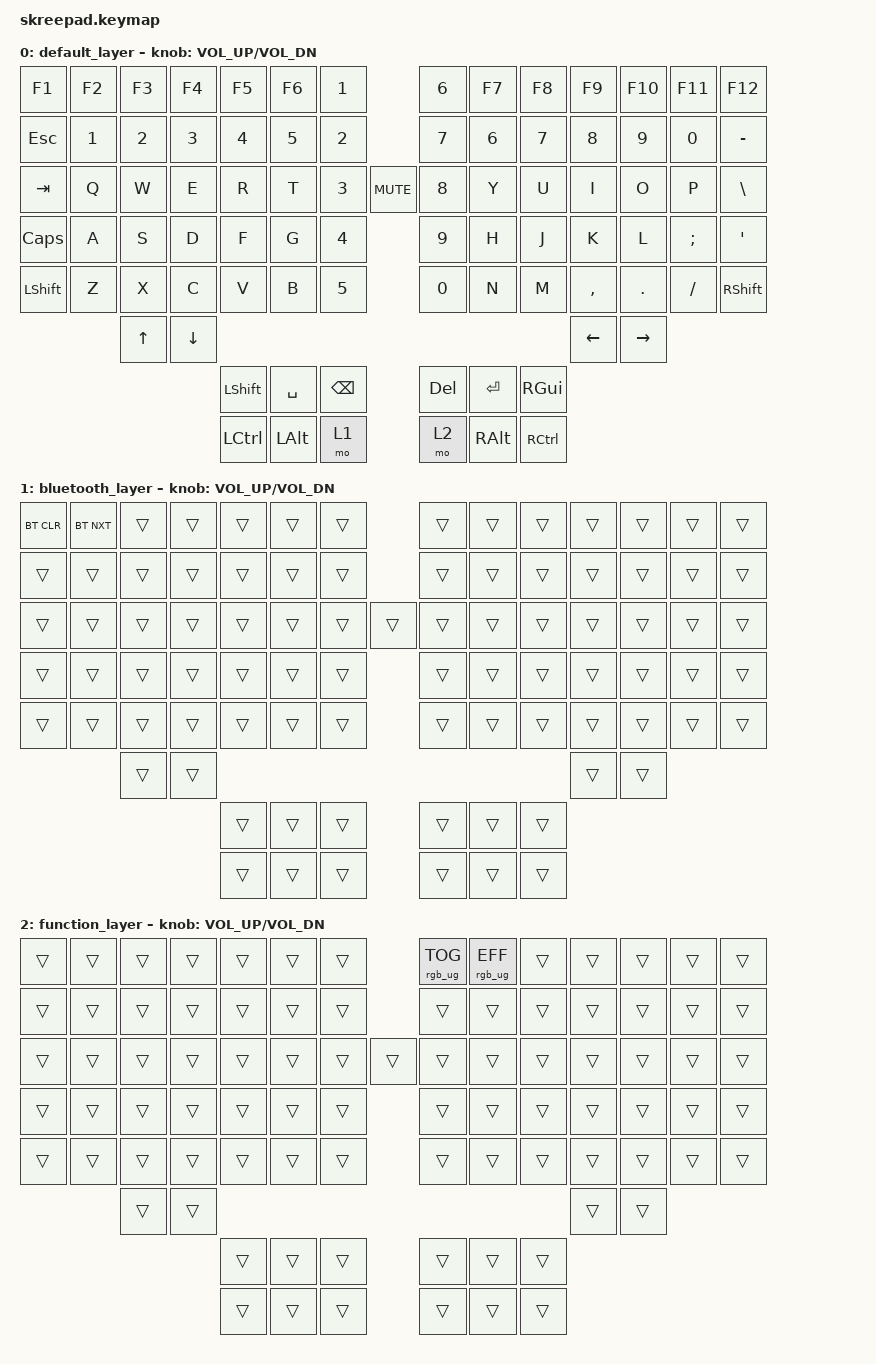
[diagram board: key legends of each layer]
#include <dt-bindings/zmk/mouse.h>
#include <behaviors.dtsi>
#include <dt-bindings/zmk/bt.h>
#include <dt-bindings/zmk/keys.h>
#include <dt-bindings/zmk/rgb.h>

/ {
    keymap {
        compatible = "zmk,keymap";

        default_layer {
            bindings = <
&kp F1     &kp F2  &kp F3  &kp F4    &kp F5     &kp F6     &kp N1                  &kp N6   &kp F7    &kp F8     &kp F9     &kp F10    &kp F11   &kp F12
&kp ESC    &kp N1  &kp N2  &kp N3    &kp N4     &kp N5     &kp N2                  &kp N7   &kp N6    &kp N7     &kp N8     &kp N9     &kp N0    &kp MINUS
&kp TAB    &kp Q   &kp W   &kp E     &kp R      &kp T      &kp N3      &kp C_MUTE  &kp N8   &kp Y     &kp U      &kp I      &kp O      &kp P     &kp BSLH
&kp CAPS   &kp A   &kp S   &kp D     &kp F      &kp G      &kp N4                  &kp N9   &kp H     &kp J      &kp K      &kp L      &kp SEMI  &kp SQT
&kp LSHFT  &kp Z   &kp X   &kp C     &kp V      &kp B      &kp N5                  &kp N0   &kp N     &kp M      &kp COMMA  &kp DOT    &kp FSLH  &kp RSHFT
                   &kp UP  &kp DOWN                                                                              &kp LEFT   &kp RIGHT
                                     &kp LSHFT  &kp SPACE  &kp BSPC                &kp DEL  &kp RET   &kp RGUI
                                     &kp LCTRL  &kp LALT   &mo 1                   &mo 2    &kp RALT  &kp RCTRL
            >;

            sensor-bindings = <&inc_dec_kp C_VOL_UP C_VOL_DN>;
        };

        bluetooth_layer {
            bindings = <
&bt BT_CLR  &bt BT_NXT  &trans  &trans  &trans  &trans  &trans            &trans  &trans  &trans  &trans  &trans  &trans  &trans
&trans      &trans      &trans  &trans  &trans  &trans  &trans            &trans  &trans  &trans  &trans  &trans  &trans  &trans
&trans      &trans      &trans  &trans  &trans  &trans  &trans    &trans  &trans  &trans  &trans  &trans  &trans  &trans  &trans
&trans      &trans      &trans  &trans  &trans  &trans  &trans            &trans  &trans  &trans  &trans  &trans  &trans  &trans
&trans      &trans      &trans  &trans  &trans  &trans  &trans            &trans  &trans  &trans  &trans  &trans  &trans  &trans
                        &trans  &trans                                                            &trans  &trans
                                        &trans  &trans  &trans            &trans  &trans  &trans
                                        &trans  &trans  &trans            &trans  &trans  &trans
            >;

            sensor-bindings = <&inc_dec_kp C_VOL_UP C_VOL_DN>;
        };

        function_layer {
            bindings = <
&trans  &trans  &trans  &trans  &trans  &trans  &trans            &rgb_ug RGB_TOG  &rgb_ug RGB_EFF  &trans  &trans  &trans  &trans  &trans
&trans  &trans  &trans  &trans  &trans  &trans  &trans            &trans           &trans           &trans  &trans  &trans  &trans  &trans
&trans  &trans  &trans  &trans  &trans  &trans  &trans    &trans  &trans           &trans           &trans  &trans  &trans  &trans  &trans
&trans  &trans  &trans  &trans  &trans  &trans  &trans            &trans           &trans           &trans  &trans  &trans  &trans  &trans
&trans  &trans  &trans  &trans  &trans  &trans  &trans            &trans           &trans           &trans  &trans  &trans  &trans  &trans
                &trans  &trans                                                                              &trans  &trans
                                &trans  &trans  &trans            &trans           &trans           &trans
                                &trans  &trans  &trans            &trans           &trans           &trans
            >;

            sensor-bindings = <&inc_dec_kp C_VOL_UP C_VOL_DN>;
        };
    };
};
